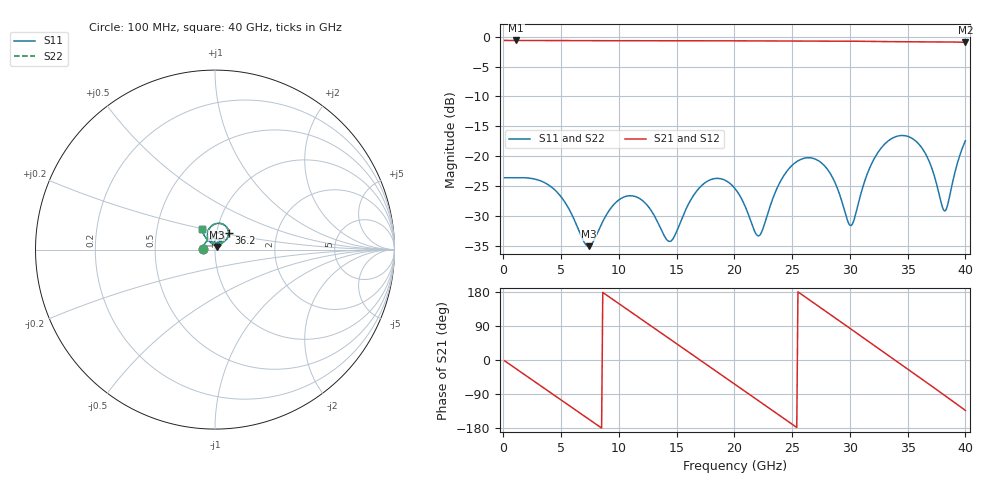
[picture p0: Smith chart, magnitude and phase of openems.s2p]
! thru_BV_vna_rf_hblb1_out: 2×thru In2.Cu, 8 mm
! stackup: as the board case
! ports: 1 near, 2 far
! openEMS 0.37.0, staircase, fine mesh (dfine 0.0175 mm), 1140720 cells
# Hz S RI R 50
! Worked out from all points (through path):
!   400 points, 100 MHz to 40 GHz, reference 50 ohm
!   highest |S21| = -0.61 dB at 1.1 GHz (marker M1); lowest = -0.9 dB at 40 GHz (marker M2)
!   group delay of S21, straight-line fit = 59.1 ps
!   lowest |S11| = -35.1 dB at 7.4 GHz (marker M3), VSWR 1.04, Z = 50.9 + j1.54 ohm
!   |S11| at or under -10 dB: start of sweep to end of sweep
!   |S22| runs from -35.1 to -16.5 dB; largest |S21 - S12| = 0
!   S11 on the Smith chart (normalised r, x): 100 MHz: 0.88, +0.01; 36.2 GHz: 1.14, +0.21; 40 GHz: 0.85, +0.20
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1e8  -0.0657 0.0038  0.9317 -0.0344  0.9317 -0.0344  -0.0657 0.0038
1.1e9  -0.0535 0.0387  0.8565 -0.3684  0.8565 -0.3684  -0.0535 0.0387
4e9  0.0247 0.0507  0.0867 -0.927  0.0867 -0.927  0.0247 0.0507
6.8e9  0.0162 0.0128  -0.7489 -0.5485  -0.7489 -0.5485  0.0162 0.0128
7.4e9  0.00896 0.0151  -0.8506 -0.371  -0.8506 -0.371  0.00896 0.0151
1e10  0.0131 0.0409  -0.7929 0.4825  -0.7929 0.4825  0.0131 0.0409
1.18e10  0.0297 0.0324  -0.3264 0.8691  -0.3264 0.8691  0.0297 0.0324
1.34e10  0.0214 0.017  0.2135 0.9029  0.2135 0.9029  0.0214 0.017
1.45e10  0.00641 0.0183  0.5528 0.7443  0.5528 0.7443  0.00641 0.0183
1.68e10  0.000126 0.0519  0.9227 0.076  0.9227 0.076  0.000126 0.0519
1.84e10  0.0247 0.0601  0.8081 -0.4514  0.8081 -0.4514  0.0247 0.0601
2.01e10  0.0374 0.037  0.387 -0.8408  0.387 -0.8408  0.0374 0.037
2.21e10  0.00501 0.0208  -0.2832 -0.8802  -0.2832 -0.8802  0.00501 0.0208
2.45e10  -0.0163 0.0719  -0.8602 -0.3317  -0.8602 -0.3317  -0.0163 0.0719
2.67e10  0.0349 0.0897  -0.8291 0.3998  -0.8291 0.3998  0.0349 0.0897
2.85e10  0.0474 0.046  -0.4005 0.8285  -0.4005 0.8285  0.0474 0.046
3.01e10  0.00291 0.026  0.1365 0.909  0.1365 0.909  0.00291 0.026
3.18e10  -0.0409 0.0723  0.6489 0.6464  0.6489 0.6464  -0.0409 0.0723
3.34e10  -0.0151 0.135  0.8963 0.1663  0.8963 0.1663  -0.0151 0.135
3.62e10  0.0763 0.0904  0.5866 -0.6928  0.5866 -0.6928  0.0763 0.0904
3.82e10  0.00481 0.0343  -0.0526 -0.905  -0.0526 -0.905  0.00481 0.0343
4e10  -0.0715 0.1137  -0.6136 -0.6575  -0.6136 -0.6575  -0.0715 0.1137
